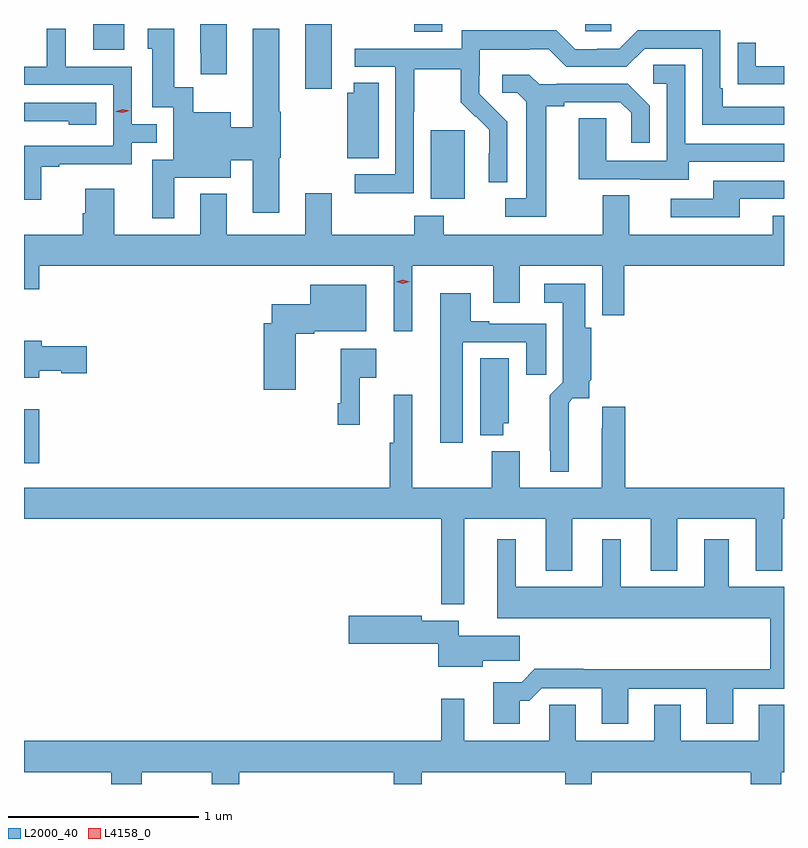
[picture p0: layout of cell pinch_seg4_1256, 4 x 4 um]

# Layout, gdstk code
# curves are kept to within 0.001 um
import gdstk
lib = gdstk.Library(unit=1e-6, precision=1e-09)
def R(c, l, rs):  # rectangles x0, y0, x1, y1
    for r in rs: c.add(gdstk.rectangle(r[:2], r[2:], *l))
def P(c, l, *ps):  # polygons
    for p in ps: c.add(gdstk.Polygon(p, *l))
L2000_40 = (2000, 40)
L4158_0 = (4158, 0)

pinch_seg4_1256 = lib.new_cell('pinch_seg4_1256')
R(pinch_seg4_1256, L2000_40, [(256.423,757.152,256.502,757.438), (258.563,758.546,258.742,758.907), (257.903,759.123,258.043,759.465), (256.787,759.33,256.951,759.465), (258.478,759.425,258.625,759.465), (259.377,759.426,259.515,759.465)])
P(pinch_seg4_1256, L2000_40, [(257.491,759.465),(257.351,759.465),(257.351,759.313),(257.354,759.313),(257.354,759.201),(257.491,759.201)],
  [(257.215,758.657),(257.512,758.657),(257.512,758.749),(257.627,758.749),(257.627,758.472),(257.767,758.472),(257.767,758.76),(257.775,758.76),(257.775,759.004),(257.767,759.004),(257.767,759.439),(257.627,759.439),(257.627,758.921),(257.512,758.921),(257.512,759.001),(257.313,759.001),(257.313,759.131),(257.215,759.131),(257.215,759.439),(257.075,759.439),(257.075,759.336),(257.099,759.336),(257.099,759.027),(257.208,759.027),(257.208,758.751),(257.099,758.751),(257.099,758.442),(257.215,758.442)],
  [(256.515,758.715),(256.609,758.715),(256.609,758.727),(256.989,758.727),(256.989,758.841),(257.122,758.841),(257.122,758.937),(256.989,758.937),(256.989,759.24),(256.642,759.24),(256.642,759.439),(256.544,759.439),(256.544,759.24),(256.423,759.24),(256.423,759.144),(256.893,759.144),(256.893,758.823),(256.423,758.823),(256.423,758.54),(256.515,758.54)],
  [(258.474,759.004),(258.477,759.004),(258.477,759.228),(258.721,759.228),(258.721,759.053),(258.798,758.976),(258.801,758.979),(258.872,758.909),(258.872,758.786),(258.87,758.786),(258.87,758.632),(258.966,758.632),(258.966,758.95),(258.82,759.098),(258.82,759.195),(258.822,759.195),(258.822,759.329),(259.085,759.329),(259.085,759.333),(259.185,759.333),(259.278,759.24),(259.593,759.24),(259.689,759.336),(259.992,759.336),(259.992,758.934),(260.423,758.934),(260.423,759.03),(260.101,759.03),(260.101,759.127),(260.088,759.127),(260.088,759.432),(259.653,759.432),(259.557,759.336),(259.439,759.336),(259.439,759.333),(259.323,759.333),(259.223,759.433),(258.726,759.433),(258.726,759.336),(258.165,759.336),(258.165,759.24),(258.378,759.24),(258.378,758.673),(258.165,758.673),(258.165,758.575),(258.474,758.575)],
  [(260.423,759.243),(260.275,759.243),(260.275,759.367),(260.179,759.367),(260.179,759.148),(260.281,759.148),(260.281,759.147),(260.423,759.147)],
  [(259.921,758.739),(260.423,758.739),(260.423,758.835),(259.902,758.835),(259.902,759.251),(259.734,759.251),(259.734,759.15),(259.806,759.15),(259.806,758.745),(259.488,758.745),(259.488,758.969),(259.343,758.969),(259.343,758.649),(259.667,758.649),(259.667,758.645),(259.921,758.645)],
  [(259.171,759.032),(259.267,759.032),(259.267,759.054),(259.562,759.054),(259.619,758.997),(259.619,758.841),(259.716,758.841),(259.716,759.034),(259.6,759.15),(259.228,759.15),(259.228,759.147),(259.134,759.147),(259.082,759.199),(258.939,759.199),(258.939,759.102),(259.02,759.102),(259.067,759.055),(259.067,758.547),(258.957,758.547),(258.957,758.451),(259.171,758.451)],
  [(258.289,759.155),(258.158,759.155),(258.158,759.102),(258.124,759.102),(258.124,758.758),(258.289,758.758)],
  [(256.804,759.051),(256.423,759.051),(256.423,758.954),(256.659,758.954),(256.659,758.936),(256.804,758.936)],
  [(260.191,758.544),(260.423,758.544),(260.423,758.64),(260.051,758.64),(260.051,758.544),(259.827,758.544),(259.827,758.448),(260.191,758.448)],
  [(258.466,758.192),(258.893,758.192),(258.893,757.998),(259.033,757.998),(259.033,758.192),(259.467,758.192),(259.467,757.932),(259.583,757.932),(259.583,758.192),(260.423,758.192),(260.423,758.455),(260.363,758.455),(260.363,758.356),(259.609,758.356),(259.609,758.564),(259.469,758.564),(259.469,758.356),(258.633,758.356),(258.633,758.455),(258.478,758.455),(258.478,758.356),(258.043,758.356),(258.043,758.575),(257.903,758.575),(257.903,758.356),(257.491,758.356),(257.491,758.572),(257.351,758.572),(257.351,758.356),(256.897,758.356),(256.897,758.599),(256.745,758.599),(256.745,758.469),(256.733,758.469),(256.733,758.356),(256.423,758.356),(256.423,758.068),(256.502,758.068),(256.502,758.192),(258.368,758.192),(258.368,757.848),(258.466,757.848)],
  [(259.291,757.472),(259.312,757.494),(259.399,757.494),(259.399,757.582),(259.409,757.592),(259.409,757.866),(259.378,757.866),(259.378,758.098),(259.161,758.098),(259.161,757.997),(259.259,757.997),(259.259,757.58),(259.189,757.51),(259.189,757.219),(259.193,757.219),(259.193,757.109),(259.291,757.109)],
  [(257.854,757.835),(257.95,757.835),(257.95,757.847),(258.223,757.847),(258.223,758.092),(257.93,758.092),(257.93,757.99),(257.726,757.99),(257.726,757.891),(257.684,757.891),(257.684,757.539),(257.854,757.539)],
  [(258.733,757.791),(259.067,757.791),(259.067,757.62),(259.171,757.62),(259.171,757.887),(258.871,757.887),(258.871,757.9),(258.775,757.9),(258.775,758.047),(258.614,758.047),(258.614,757.26),(258.733,757.26)],
  [(256.504,757.64),(256.62,757.64),(256.62,757.628),(256.753,757.628),(256.753,757.77),(256.517,757.77),(256.517,757.798),(256.423,757.798),(256.423,757.604),(256.504,757.604)],
  [(258.191,757.604),(258.277,757.604),(258.277,757.756),(258.091,757.756),(258.091,757.468),(258.073,757.468),(258.073,757.356),(258.191,757.356)],
  [(258.946,757.365),(258.973,757.365),(258.973,757.706),(258.824,757.706),(258.824,757.301),(258.946,757.301)],
  [(258.739,756.86),(259.169,756.86),(259.169,756.587),(259.309,756.587),(259.309,756.86),(259.721,756.86),(259.721,756.587),(259.861,756.587),(259.861,756.86),(260.273,756.86),(260.273,756.587),(260.413,756.587),(260.413,756.86),(260.423,756.86),(260.423,757.024),(259.588,757.024),(259.588,757.45),(259.466,757.45),(259.466,757.337),(259.463,757.337),(259.463,757.024),(259.033,757.024),(259.033,757.216),(258.886,757.216),(258.886,757.024),(258.466,757.024),(258.466,757.513),(258.368,757.513),(258.368,757.26),(258.349,757.26),(258.349,757.024),(256.423,757.024),(256.423,756.86),(258.618,756.86),(258.618,756.411),(258.739,756.411)],
  [(259.033,755.903),(259.082,755.903),(259.149,755.97),(259.463,755.97),(259.463,755.781),(259.603,755.781),(259.603,755.967),(260.015,755.967),(260.015,755.781),(260.155,755.781),(260.155,755.967),(260.423,755.967),(260.423,756.502),(260.131,756.502),(260.131,756.754),(260.003,756.754),(260.003,756.502),(259.564,756.502),(259.564,756.754),(259.466,756.754),(259.466,756.502),(259.012,756.502),(259.012,756.754),(258.914,756.754),(258.914,756.338),(260.351,756.338),(260.351,756.068),(259.367,756.068),(259.367,756.071),(259.112,756.071),(259.042,756.001),(258.893,756.001),(258.893,755.781),(259.033,755.781)],
  [(258.838,756.115),(259.033,756.115),(259.033,756.244),(258.712,756.244),(258.712,756.325),(258.516,756.325),(258.516,756.35),(258.132,756.35),(258.132,756.203),(258.602,756.203),(258.602,756.083),(258.838,756.083)],
  [(256.423,755.528),(256.883,755.528),(256.883,755.465),(257.043,755.465),(257.043,755.528),(257.41,755.528),(257.41,755.465),(257.556,755.465),(257.556,755.528),(258.37,755.528),(258.37,755.465),(258.517,755.465),(258.517,755.528),(259.271,755.528),(259.271,755.465),(259.411,755.465),(259.411,755.528),(260.248,755.528),(260.248,755.465),(260.408,755.465),(260.408,755.528),(260.423,755.528),(260.423,755.882),(260.291,755.882),(260.291,755.692),(259.879,755.692),(259.879,755.882),(259.739,755.882),(259.739,755.692),(259.327,755.692),(259.327,755.882),(259.188,755.882),(259.188,755.692),(258.739,755.692),(258.739,755.914),(258.618,755.914),(258.618,755.692),(256.423,755.692)])
P(pinch_seg4_1256, L4158_0, [(256.944,758.997),(256.909,759.004),(256.908,759.004),(256.909,759.005),(256.942,759.017),(256.977,759.009),(256.978,759.009),(256.977,759.009)],
  [(258.417,758.099),(258.381,758.109),(258.381,758.109),(258.381,758.109),(258.417,758.119),(258.452,758.109),(258.453,758.109),(258.452,758.109)])

lib.write_gds('pinch_seg4_1256.gds')
